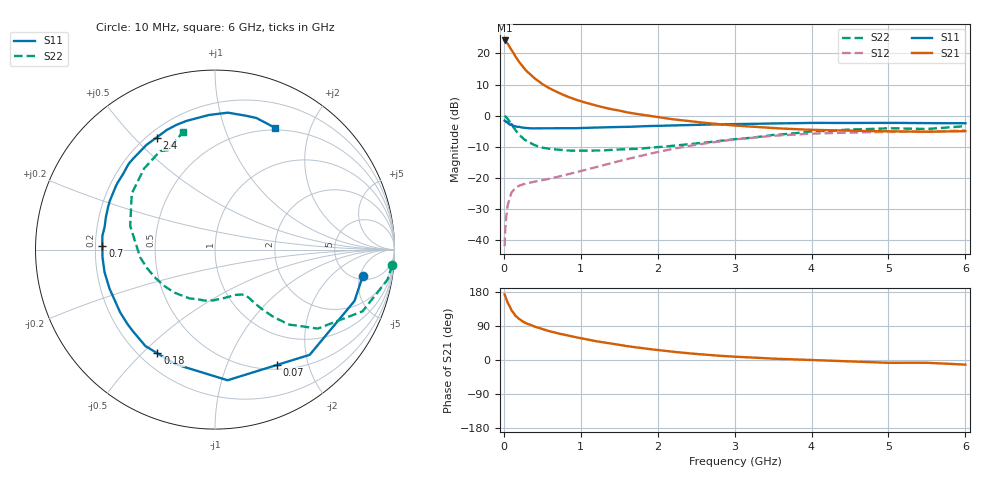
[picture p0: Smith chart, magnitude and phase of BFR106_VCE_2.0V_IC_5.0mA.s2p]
! Infineon Technologies  Discrete & RF Semiconductors
! BFR106
! VCE =  2.0 V,  IC =  5.0 mA
! Common Emitter S-Parameters:  Nov 2015
# GHz  S  MA  R  50
!  f  S11  S21  S12  S22
! GHz  MAG  ANG  MAG  ANG  MAG  ANG  MAG  ANG
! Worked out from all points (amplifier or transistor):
!   210 points, 10 MHz to 6 GHz, reference 50 ohm
!   highest |S21| = 24.2 dB at 10 MHz (marker M1)
!   |S21| within 3 dB of that: start of sweep to 100.4 MHz
!   unconditionally stable (mu >= 1): 608.2 MHz to 2.205 GHz; 4.152 GHz to end of sweep
!   at 185 MHz: K = 0.39, MSG = 20.3 dB, |S12| = -22.7 dB
!   at 1.52 GHz: K = 1.14, MAG = 5.7 dB, |S12| = -14.5 dB
!   at 6 GHz: K = 1.03, MAG = -1.1 dB, |S12| = -4.7 dB
!   S11 on the Smith chart (normalised r, x): 10 MHz: 5.59, -5.56; 70 MHz: 0.56, -1.53; 180 MHz: 0.27, -0.56; 700 MHz: 0.23, +0.02; 2.4 GHz: 0.24, +0.58; 6 GHz: 0.48, +1.50
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0.01  0.8362 -10.3  16.19 173.1  0.008 87.6  0.9906 -4.9
0.02  0.8282 -20.2  15.84 167.8  0.016 80.0  0.9764 -9.8
0.05  0.7888 -48.0  14.34 150.7  0.0362 66.2  0.8911 -22.7
0.07  0.7295 -61.8  13.02 143.8  0.0446 58.3  0.8174 -27.9
0.1  0.7313 -84.5  11.48 130.8  0.0583 51.0  0.7225 -37.5
0.15  0.6756 -109.0  8.952 116.8  0.0692 42.0  0.5864 -45.4
0.18  0.661 -119.0  7.939 112.0  0.0726 39.4  0.5314 -47.5
0.2  0.6627 -125.8  7.302 108.0  0.075 37.8  0.4952 -49.1
0.24  0.6446 -135.5  6.286 102.5  0.0781 36.3  0.4415 -51.0
0.26  0.64 -139.7  5.86 100.0  0.0795 35.8  0.4204 -51.8
0.3  0.6336 -146.6  5.141 96.0  0.0817 35.5  0.3898 -52.9
0.4  0.6266 -159.7  3.982 88.1  0.0872 36.3  0.3362 -54.5
0.5  0.6282 -168.4  3.223 81.4  0.0918 38.5  0.3065 -56.2
0.7  0.6281 178.1  2.366 70.4  0.104 44.0  0.2846 -61.9
1.02  0.6348 162.7  1.678 56.7  0.1305 51.4  0.2741 -73.9
1.4  0.6548 148.2  1.27 43.2  0.1733 56.1  0.283 -91.6
2.02  0.6858 128.4  0.94 25.9  0.2638 54.5  0.3137 -124.4
2.4  0.704 117.5  0.822 17.6  0.3254 50.0  0.3492 -145.0
3.1  0.7358 100.6  0.682 7.8  0.4264 37.6  0.4281 -179.0
4.1  0.7653 83.3  0.589 -0.7  0.5184 18.9  0.5639 143.0
5.1  0.7663 71.5  0.558 -7.4  0.5495 4.3  0.6248 118.3
6  0.7556 63.7  0.564 -12.2  0.5805 -5.8  0.6803 105.2
